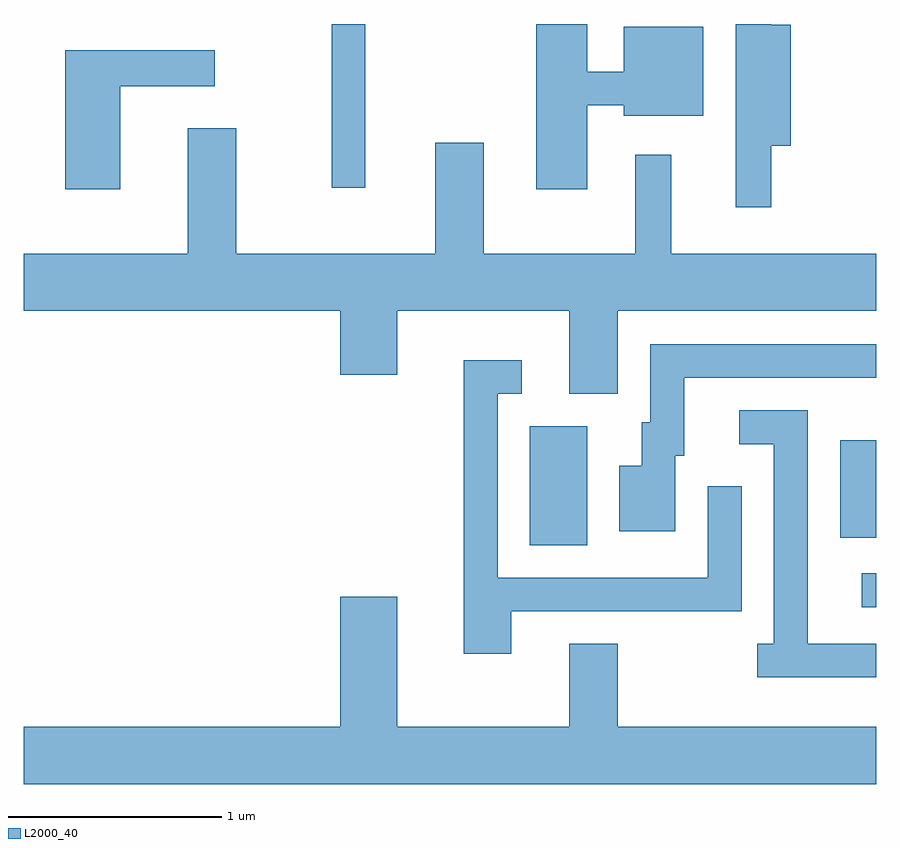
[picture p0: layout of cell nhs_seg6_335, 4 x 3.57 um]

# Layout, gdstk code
import gdstk
lib = gdstk.Library(unit=1e-6, precision=1e-09)
def R(c, l, rs):  # rectangles x0, y0, x1, y1
    for r in rs: c.add(gdstk.rectangle(r[:2], r[2:], *l))
def P(c, l, *ps):  # polygons
    for p in ps: c.add(gdstk.Polygon(p, *l))
L2000_40 = (2000, 40)

nhs_seg6_335 = lib.new_cell('nhs_seg6_335')
R(nhs_seg6_335, L2000_40, [(197.543,1657.426,197.611,1657.584), (195.986,1657.716,196.254,1658.274), (197.441,1657.751,197.611,1658.209), (195.056,1659.393,195.214,1660.162)])
P(nhs_seg6_335, L2000_40, [(197.119,1659.591),(197.209,1659.591),(197.209,1660.159),(197.119,1660.159),(197.119,1660.162),(196.951,1660.162),(196.951,1659.303),(197.119,1659.303)],
  [(196.254,1659.781),(196.426,1659.781),(196.426,1659.731),(196.799,1659.731),(196.799,1660.149),(196.426,1660.149),(196.426,1659.939),(196.254,1659.939),(196.254,1660.162),(196.016,1660.162),(196.016,1659.386),(196.254,1659.386)],
  [(194.064,1659.871),(194.508,1659.871),(194.508,1660.039),(193.806,1660.039),(193.806,1659.386),(194.064,1659.386)],
  [(196.399,1658.816),(197.611,1658.816),(197.611,1659.084),(196.649,1659.084),(196.649,1659.548),(196.481,1659.548),(196.481,1659.084),(195.769,1659.084),(195.769,1659.604),(195.541,1659.604),(195.541,1659.084),(194.609,1659.084),(194.609,1659.674),(194.381,1659.674),(194.381,1659.084),(193.611,1659.084),(193.611,1658.816),(195.096,1658.816),(195.096,1658.516),(195.364,1658.516),(195.364,1658.816),(196.171,1658.816),(196.171,1658.426),(196.399,1658.426)],
  [(196.669,1658.136),(196.709,1658.136),(196.709,1658.501),(197.611,1658.501),(197.611,1658.659),(196.551,1658.659),(196.551,1658.294),(196.511,1658.294),(196.511,1658.089),(196.406,1658.089),(196.406,1657.781),(196.669,1657.781)],
  [(195.899,1657.406),(196.979,1657.406),(196.979,1657.993),(196.821,1657.993),(196.821,1657.564),(195.834,1657.564),(195.834,1658.426),(195.948,1658.426),(195.948,1658.584),(195.676,1658.584),(195.676,1657.206),(195.899,1657.206)],
  [(197.611,1657.254),(197.289,1657.254),(197.289,1658.349),(196.968,1658.349),(196.968,1658.191),(197.131,1658.191),(197.131,1657.254),(197.053,1657.254),(197.053,1657.096),(197.611,1657.096)],
  [(197.611,1656.864),(196.399,1656.864),(196.399,1657.254),(196.171,1657.254),(196.171,1656.864),(195.364,1656.864),(195.364,1657.474),(195.096,1657.474),(195.096,1656.864),(193.611,1656.864),(193.611,1656.596),(197.611,1656.596)])

lib.write_gds('nhs_seg6_335.gds')
